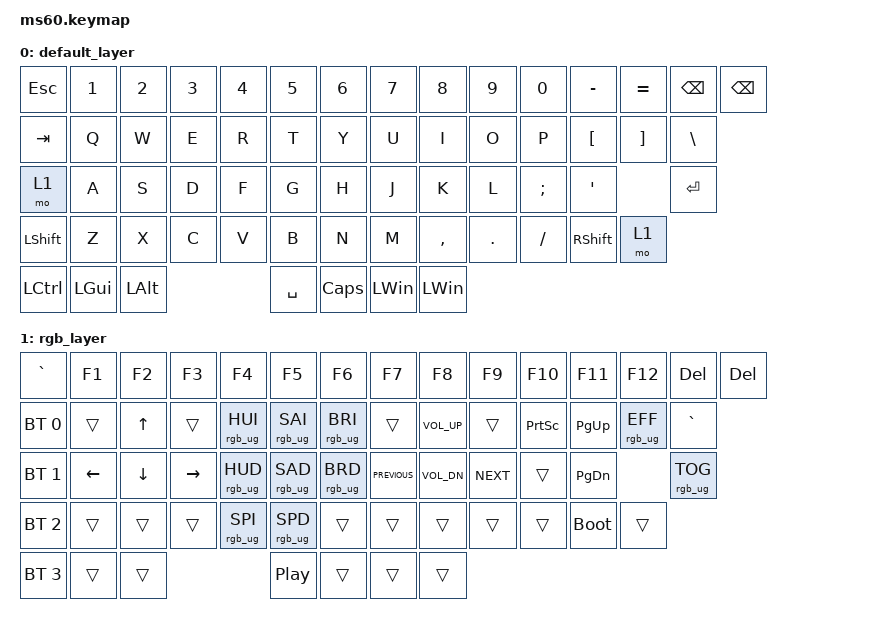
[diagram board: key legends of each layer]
/*
 * Copyright (c) 2021 Nick Winans
 *
 * SPDX-License-Identifier: MIT
 */

#include <behaviors.dtsi>
#include <dt-bindings/zmk/bt.h>
#include <dt-bindings/zmk/keys.h>
#include <dt-bindings/zmk/rgb.h>

/ {
    keymap {
        compatible = "zmk,keymap";

        default_layer {
            // -------------------------------------------------------------------------------------------
            // | ESC |  1  |  2  |  3  |  4  |  5  |  6  |  7  |  8  |  9  |  0  |  -  |  =  | BKSP |BKSP|
            // | TAB  |  Q  |  W  |  E  |  R  |  T  |  Y  |  U  |  I  |  O  |  P  |  [  |  ]  |   "|"    |
            // | CAPS  |  A  |  S  |  D  |  F  |  G  |  H  |  J  |  K  |  L  |  ;  |  '  |     ENTER     |
            // |  SHIFT  |  Z  |  X  |  C  |  V  |  B  |  N  |  M  |  ,  |  .  |   SHFT   |  UP  |   /   |
            // |  CTL  |  WIN  |  ALT  |           SPACE             | FN(1) | WIN | LEFT | DOWN | RIGHT |
            // -------------------------------------------------------------------------------------------

            bindings = <
&kp ESC    &kp N1    &kp N2    &kp N3  &kp N4  &kp N5     &kp N6        &kp N7        &kp N8        &kp N9   &kp N0     &kp MINUS        &kp EQUAL  &kp BACKSPACE  &kp BACKSPACE
&kp TAB    &kp Q     &kp W     &kp E   &kp R   &kp T      &kp Y         &kp U         &kp I         &kp O    &kp P      &kp LBKT         &kp RBKT   &kp BACKSLASH
&mo 1      &kp A     &kp S     &kp D   &kp F   &kp G      &kp H         &kp J         &kp K         &kp L    &kp SEMI   &kp SQT                     &kp RET
&kp LSHFT  &kp Z     &kp X     &kp C   &kp V   &kp B      &kp N         &kp M         &kp COMMA     &kp DOT  &kp SLASH  &kp RIGHT_SHIFT  &mo 1
&kp LCTRL  &kp LGUI  &kp LALT                  &kp SPACE  &kp CAPSLOCK  &kp LEFT_WIN  &kp LEFT_WIN
            >;
        };

        rgb_layer {
            // ------------------------------------------------------------------------------------------------
            // | BT CLR | F1  | F2  | F3  | F4  | F5  | F6  | F7  | F8  | F9  | F10 | F11 | F12 | BOOT | BOOT |
            // |  BT 1   |   |  UP |   | HUEUP | SATUP | BRIUP | SPDUP |   |     |    |     |     |  RGB_efect|
            // |   BT 2   | LT |  DN  | RT | HUEDN | SATDN | BRIDN | SPDDN |   |     |   |     |  EFFECT FORW |
            // |    BT 3     |     |      |      |     |     |     |     |     |     |     |                  |
            // |   BT 4  |      |      |             TOG RGB                | PRT SCR |    |    |     |  DEL  |
            // ------------------------------------------------------------------------------------------------

            bindings = <
&kp GRAVE     &kp F1    &kp F2        &kp F3     &kp F4           &kp F5            &kp F6           &kp F7          &kp F8           &kp F9      &kp F10          &kp F11        &kp F12          &kp DEL          &kp DEL
&bt BT_SEL 0  &trans    &kp UP_ARROW  &trans     &rgb_ug RGB_HUI  &rgb_ug RGB_SAI   &rgb_ug RGB_BRI  &trans          &kp C_VOLUME_UP  &trans      &kp PRINTSCREEN  &kp PAGE_UP    &rgb_ug RGB_EFF  &kp GRAVE
&bt BT_SEL 1  &kp LEFT  &kp DOWN      &kp RIGHT  &rgb_ug RGB_HUD  &rgb_ug RGB_SAD   &rgb_ug RGB_BRD  &kp C_PREVIOUS  &kp C_VOL_DN     &kp C_NEXT  &trans           &kp PAGE_DOWN                   &rgb_ug RGB_TOG
&bt BT_SEL 2  &trans    &trans        &trans     &rgb_ug RGB_SPI  &rgb_ug RGB_SPD   &trans           &trans          &trans           &trans      &trans           &bootloader    &trans
&bt BT_SEL 3  &trans    &trans                                    &kp C_PLAY_PAUSE  &trans           &trans          &trans
            >;
        };
    };
};
